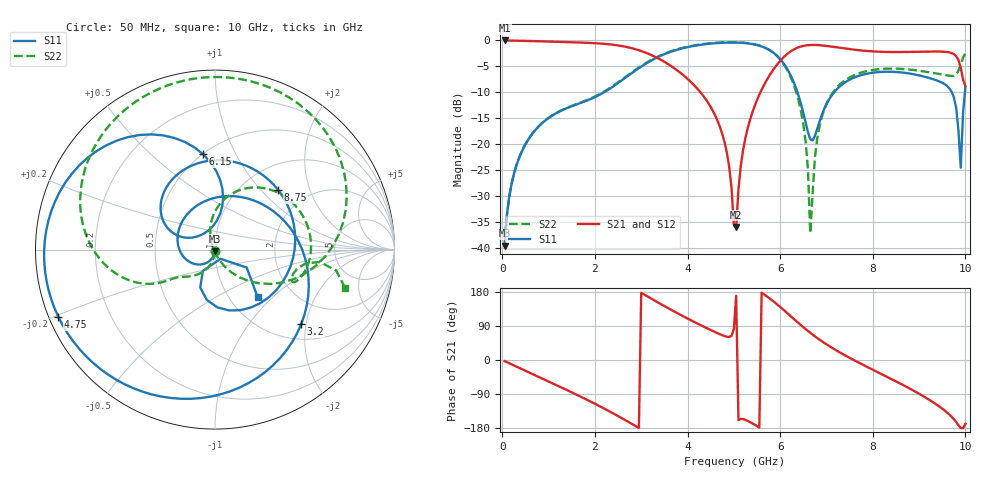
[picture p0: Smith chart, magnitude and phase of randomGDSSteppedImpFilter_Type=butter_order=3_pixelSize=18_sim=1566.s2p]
! freq	dB(S11)	phase(S11)	dB(S12)	phase(S12)
!  dB(S21)	phase(S21)	dB(S22)	phase(S22)
!S-par simulation data
#  GHz  S  DB  R 50
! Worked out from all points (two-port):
!   200 points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, 50 MHz to 10 GHz, reference 50 ohm
!   highest |S21| = 0.00 dB at 50 MHz (marker M1); lowest = -35.9 dB at 5.05 GHz (marker M2)
!   |S21| within 3 dB of the highest: start of sweep to 3.266 GHz; 6.102 GHz to 9.799 GHz (3.698 GHz wide, 46.5 % of centre)
!   lowest |S11| = -39.5 dB at 50 MHz (marker M3), VSWR 1.02, Z = 49.9 - j1.06 ohm
!   |S11| at or under -10 dB: start of sweep to 2.193 GHz; 6.374 GHz to 7.164 GHz (790 MHz wide, 11.7 % of centre); 9.708 GHz to 9.99 GHz (282 MHz wide, 2.86 % of centre)
!   |S22| runs from -39.6 to -0.3 dB; largest |S21 - S12| = 0
!   S11 on the Smith chart (normalised r, x): 50 MHz: 1.00, -0.02; 3.2 GHz: 1.35, -1.88; 4.75 GHz: 0.03, -0.21; 6.15 GHz: 0.50, +0.75; 8.75 GHz: 1.44, +1.25; 10 GHz: 1.34, -0.81
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0.05  -39.50 -93.1  -0.00 -2.9  -0.00 -2.9  -39.58 -89.6
0.2  -27.61 -104.7  -0.03 -11.4  -0.03 -11.4  -27.59 -98.0
0.5  -19.98 -127.6  -0.08 -28.5  -0.08 -28.5  -19.95 -110.1
1.75  -11.83 121.8  -0.43 -100.2  -0.43 -100.2  -11.74 -143.4
2.45  -8.51 39.3  -0.89 -144.6  -0.89 -144.6  -8.37 -150.4
3.2  -3.95 -40.8  -2.74 163.1  -2.74 163.1  -3.83 -175.3
3.4  -3.04 -59.0  -3.61 149.1  -3.61 149.1  -2.93 175.0
4.05  -1.19 -110.2  -7.80 106.3  -7.80 106.3  -1.11 140.3
4.75  -0.45 -156.7  -17.99 65.4  -17.99 65.4  -0.38 100.3
5.05  -0.41 -176.2  -35.90 169.4  -35.90 169.4  -0.35 81.4
5.35  -0.62 163.2  -15.24 -163.8  -15.24 -163.8  -0.57 60.3
6.15  -5.44 97.0  -2.62 124.1  -2.62 124.1  -5.66 -14.6
6.5  -13.93 81.8  -1.05 86.6  -1.05 86.6  -16.11 -54.2
6.65  -19.02 109.7  -0.88 71.8  -0.88 71.8  -37.10 -100.9
6.7  -19.24 127.2  -0.86 67.1  -0.86 67.1  -29.57 122.8
6.85  -15.58 156.8  -0.92 53.6  -0.92 53.6  -16.50 98.6
7.1  -10.75 155.6  -1.18 33.6  -1.18 33.6  -10.53 77.6
8.35  -6.02 77.1  -2.23 -46.9  -2.23 -46.9  -5.42 7.7
8.75  -6.31 43.3  -2.21 -72.2  -2.21 -72.2  -5.56 -7.5
9.7  -9.84 -87.6  -2.42 -149.4  -2.42 -149.4  -6.83 -19.4
9.9  -24.48 -59.0  -5.25 -179.6  -5.25 -179.6  -4.62 -6.7
10  -8.98 -48.1  -8.84 -168.4  -8.84 -168.4  -2.44 -16.4
